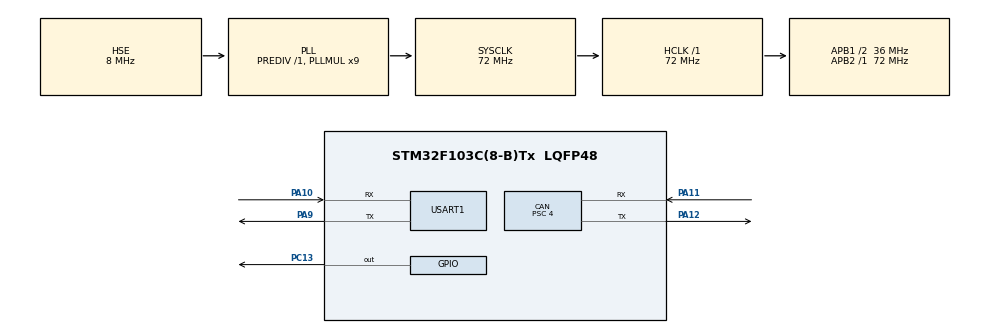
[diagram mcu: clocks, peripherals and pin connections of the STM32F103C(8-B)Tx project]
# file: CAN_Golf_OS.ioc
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CAN.BS1=CAN_BS1_15TQ
CAN.BS2=CAN_BS2_2TQ
CAN.CalculateBaudRate=500000
CAN.CalculateTimeBit=2000
CAN.CalculateTimeQuantum=111.11111111111111
CAN.Prescaler=4
FREERTOS.Tasks01=mMainTask,24,128,MainTask,Default,NULL,Dynamic,NULL,NULL;mCAN_Recv,48,128,CAN_Recv,Default,NULL,Dynamic,NULL,NULL;mCAN_Monitor,24,128,CAN_Monitor,Default,NULL,Dynamic,NULL,NULL
Mcu.Family=STM32F1
Mcu.Name=STM32F103C(8-B)Tx
Mcu.Package=LQFP48
NVIC.CAN1_RX1_IRQn=true\:5\:0\:false\:false\:true\:true\:true\:true\:true
NVIC.CAN1_SCE_IRQn=true\:5\:0\:false\:false\:true\:true\:true\:true\:true
NVIC.PriorityGroup=NVIC_PRIORITYGROUP_4
NVIC.TIM4_IRQn=true\:15\:0\:false\:false\:true\:false\:false\:true\:true
NVIC.TimeBase=TIM4_IRQn
NVIC.TimeBaseIP=TIM4
NVIC.USB_HP_CAN1_TX_IRQn=true\:5\:0\:false\:false\:true\:true\:true\:true\:true
NVIC.USB_LP_CAN1_RX0_IRQn=true\:5\:0\:false\:false\:true\:true\:true\:true\:true
PA10.Mode=Asynchronous
PA10.Signal=USART1_RX
PA11.Mode=CAN_Activate
PA11.Signal=CAN_RX
PA12.Mode=CAN_Activate
PA12.Signal=CAN_TX
PA13.Mode=Serial_Wire
PA13.Signal=SYS_JTMS-SWDIO
PA14.Mode=Serial_Wire
PA14.Signal=SYS_JTCK-SWCLK
PA9.Mode=Asynchronous
PA9.Signal=USART1_TX
PC13-TAMPER-RTC.Signal=GPIO_Output
PD0-OSC_IN.Mode=HSE-External-Oscillator
PD0-OSC_IN.Signal=RCC_OSC_IN
PD1-OSC_OUT.Mode=HSE-External-Oscillator
PD1-OSC_OUT.Signal=RCC_OSC_OUT
ProjectManager.HeapSize=0x200
ProjectManager.StackSize=0x400
ProjectManager.TargetToolchain=STM32CubeIDE
RCC.AHBFreq_Value=72000000
RCC.APB1CLKDivider=RCC_HCLK_DIV2
RCC.APB1Freq_Value=36000000
RCC.APB1TimFreq_Value=72000000
RCC.APB2Freq_Value=72000000
RCC.APB2TimFreq_Value=72000000
RCC.HCLKFreq_Value=72000000
RCC.PLLMUL=RCC_PLL_MUL9
RCC.PLLSourceVirtual=RCC_PLLSOURCE_HSE
RCC.SYSCLKFreq_VALUE=72000000
RCC.SYSCLKSource=RCC_SYSCLKSOURCE_PLLCLK
RCC.USBFreq_Value=72000000
TIM3.Period=209
TIM3.Prescaler=71
USART1.VirtualMode=VM_ASYNC
VP_FREERTOS_VS_CMSIS_V2.Mode=CMSIS_V2
VP_SYS_VS_tim4.Mode=TIM4
VP_TIM3_VS_ClockSourceINT.Mode=Internal
board=custom

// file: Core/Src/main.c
/* USER CODE BEGIN Header */
/**
  ******************************************************************************
  * @file           : main.c
  * @brief          : Main program body
  ******************************************************************************
  * @attention
  *
  * Copyright (c) 2023 STMicroelectronics.
  * All rights reserved.
  *
  * This software is licensed under terms that can be found in the LICENSE file
  * in the root directory of this software component.
  * If no LICENSE file comes with this software, it is provided AS-IS.
  *
  ******************************************************************************
  */
/* USER CODE END Header */
#include "main.h"
#include "cmsis_os.h"

/* USER CODE BEGIN Includes */
#include "CAN_Flag.h"
#include "CAN_OSI.h"
#include "stdio.h"
/* USER CODE END Includes */

CAN_HandleTypeDef hcan;

TIM_HandleTypeDef htim3;

UART_HandleTypeDef huart1;

/* Definitions for mMainTask */
osThreadId_t mMainTaskHandle;
const osThreadAttr_t mMainTask_attributes = {
  .name = "mMainTask",
  .stack_size = 128 * 4,
  .priority = (osPriority_t) osPriorityNormal,
};
/* Definitions for mCAN_Recv */
osThreadId_t mCAN_RecvHandle;
const osThreadAttr_t mCAN_Recv_attributes = {
  .name = "mCAN_Recv",
  .stack_size = 128 * 4,
  .priority = (osPriority_t) osPriorityRealtime,
};
/* Definitions for mCAN_Monitor */
osThreadId_t mCAN_MonitorHandle;
const osThreadAttr_t mCAN_Monitor_attributes = {
  .name = "mCAN_Monitor",
  .stack_size = 128 * 4,
  .priority = (osPriority_t) osPriorityNormal,
};

void SystemClock_Config(void);
static void MX_GPIO_Init(void);
static void MX_CAN_Init(void);
static void MX_USART1_UART_Init(void);
static void MX_TIM3_Init(void);
void MainTask(void *argument);
void CAN_Recv(void *argument);
void CAN_Monitor(void *argument);

int main(void)
{

  /* MCU Configuration--------------------------------------------------------*/

  /* Reset of all peripherals, Initializes the Flash interface and the Systick. */
  HAL_Init();

  /* Configure the system clock */
  SystemClock_Config();

  /* Initialize all configured peripherals */
  MX_GPIO_Init();
  MX_CAN_Init();
  MX_USART1_UART_Init();
  MX_TIM3_Init();

  /* Init scheduler */
  osKernelInitialize();

  /* Create the thread(s) */
  /* creation of mMainTask */
  mMainTaskHandle = osThreadNew(MainTask, NULL, &mMainTask_attributes);

  /* creation of mCAN_Recv */
  mCAN_RecvHandle = osThreadNew(CAN_Recv, NULL, &mCAN_Recv_attributes);

  /* creation of mCAN_Monitor */
  mCAN_MonitorHandle = osThreadNew(CAN_Monitor, NULL, &mCAN_Monitor_attributes);

  /* Start scheduler */
  osKernelStart();

  /* We should never get here as control is now taken by the scheduler */
  /* Infinite loop */
  while (1)
  {

  }
}

void SystemClock_Config(void)
{
  RCC_OscInitTypeDef RCC_OscInitStruct = {0};
  RCC_ClkInitTypeDef RCC_ClkInitStruct = {0};

  /** Initializes the RCC Oscillators according to the specified parameters
  * in the RCC_OscInitTypeDef structure.
  */
  RCC_OscInitStruct.OscillatorType = RCC_OSCILLATORTYPE_HSE;
  RCC_OscInitStruct.HSEState = RCC_HSE_ON;
  RCC_OscInitStruct.HSEPredivValue = RCC_HSE_PREDIV_DIV1;
  RCC_OscInitStruct.HSIState = RCC_HSI_ON;
  RCC_OscInitStruct.PLL.PLLState = RCC_PLL_ON;
  RCC_OscInitStruct.PLL.PLLSource = RCC_PLLSOURCE_HSE;
  RCC_OscInitStruct.PLL.PLLMUL = RCC_PLL_MUL9;
  if (HAL_RCC_OscConfig(&RCC_OscInitStruct) != HAL_OK)
  {
    Error_Handler();
  }

  /** Initializes the CPU, AHB and APB buses clocks
  */
  RCC_ClkInitStruct.ClockType = RCC_CLOCKTYPE_HCLK|RCC_CLOCKTYPE_SYSCLK
                              |RCC_CLOCKTYPE_PCLK1|RCC_CLOCKTYPE_PCLK2;
  RCC_ClkInitStruct.SYSCLKSource = RCC_SYSCLKSOURCE_PLLCLK;
  RCC_ClkInitStruct.AHBCLKDivider = RCC_SYSCLK_DIV1;
  RCC_ClkInitStruct.APB1CLKDivider = RCC_HCLK_DIV2;
  RCC_ClkInitStruct.APB2CLKDivider = RCC_HCLK_DIV1;

  if (HAL_RCC_ClockConfig(&RCC_ClkInitStruct, FLASH_LATENCY_2) != HAL_OK)
  {
    Error_Handler();
  }
}

static void MX_CAN_Init(void)
{

  hcan.Instance = CAN1;
  hcan.Init.Prescaler = 4;
  hcan.Init.Mode = CAN_MODE_NORMAL;
  hcan.Init.SyncJumpWidth = CAN_SJW_1TQ;
  hcan.Init.TimeSeg1 = CAN_BS1_15TQ;
  hcan.Init.TimeSeg2 = CAN_BS2_2TQ;
  hcan.Init.TimeTriggeredMode = DISABLE;
  hcan.Init.AutoBusOff = DISABLE;
  hcan.Init.AutoWakeUp = DISABLE;
  hcan.Init.AutoRetransmission = DISABLE;
  hcan.Init.ReceiveFifoLocked = DISABLE;
  hcan.Init.TransmitFifoPriority = DISABLE;
  if (HAL_CAN_Init(&hcan) != HAL_OK)
  {
    Error_Handler();
  }

}

static void MX_TIM3_Init(void)
{

  TIM_ClockConfigTypeDef sClockSourceConfig = {0};
  TIM_MasterConfigTypeDef sMasterConfig = {0};

  htim3.Instance = TIM3;
  htim3.Init.Prescaler = 71;
  htim3.Init.CounterMode = TIM_COUNTERMODE_UP;
  htim3.Init.Period = 209;
  htim3.Init.ClockDivision = TIM_CLOCKDIVISION_DIV1;
  htim3.Init.AutoReloadPreload = TIM_AUTORELOAD_PRELOAD_DISABLE;
  if (HAL_TIM_Base_Init(&htim3) != HAL_OK)
  {
    Error_Handler();
  }
  sClockSourceConfig.ClockSource = TIM_CLOCKSOURCE_INTERNAL;
  if (HAL_TIM_ConfigClockSource(&htim3, &sClockSourceConfig) != HAL_OK)
  {
    Error_Handler();
  }
  sMasterConfig.MasterOutputTrigger = TIM_TRGO_RESET;
  sMasterConfig.MasterSlaveMode = TIM_MASTERSLAVEMODE_DISABLE;
  if (HAL_TIMEx_MasterConfigSynchronization(&htim3, &sMasterConfig) != HAL_OK)
  {
    Error_Handler();
  }

}

static void MX_USART1_UART_Init(void)
{

  huart1.Instance = USART1;
  huart1.Init.BaudRate = 115200;
  huart1.Init.WordLength = UART_WORDLENGTH_8B;
  huart1.Init.StopBits = UART_STOPBITS_1;
  huart1.Init.Parity = UART_PARITY_NONE;
  huart1.Init.Mode = UART_MODE_TX_RX;
  huart1.Init.HwFlowCtl = UART_HWCONTROL_NONE;
  huart1.Init.OverSampling = UART_OVERSAMPLING_16;
  if (HAL_UART_Init(&huart1) != HAL_OK)
  {
    Error_Handler();
  }

}

static void MX_GPIO_Init(void)
{
  GPIO_InitTypeDef GPIO_InitStruct = {0};

  /* GPIO Ports Clock Enable */
  __HAL_RCC_GPIOC_CLK_ENABLE();
  __HAL_RCC_GPIOD_CLK_ENABLE();
  __HAL_RCC_GPIOA_CLK_ENABLE();

  /*Configure GPIO pin Output Level */
  HAL_GPIO_WritePin(GPIOC, GPIO_PIN_13, GPIO_PIN_RESET);

  /*Configure GPIO pin : PC13 */
  GPIO_InitStruct.Pin = GPIO_PIN_13;
  GPIO_InitStruct.Mode = GPIO_MODE_OUTPUT_PP;
  GPIO_InitStruct.Pull = GPIO_NOPULL;
  GPIO_InitStruct.Speed = GPIO_SPEED_FREQ_LOW;
  HAL_GPIO_Init(GPIOC, &GPIO_InitStruct);

}

void MainTask(void *argument)
{
  /* USER CODE BEGIN 5 */
  CAN_Config_filtering(CAN_FILTER_FIFO0);
    if(HAL_CAN_Start(&hcan)!=HAL_OK)
        {
         Error_Handler();
        }
     uint32_t Txmailbox;
     CANConfigIDTxtypedef pIDtype;
     pIDtype.MessageType=COMMAND_FRAME;
     pIDtype.SenderID=OBSTALCE2;
     CANBufferHandleStruct Buffer;
     CANBufferHandleStruct_Init(&Buffer);
     FlagRecNotification FlagRec;
     FlagFrameHandle Flag;
     FlagsFrameHandle_Init(&Flag);
     uint8_t mess[100]={0};
     uint8_t k=0;
     uint8_t Data[64]={0};
     for (int i=0; i<DATA_TEST;i++)
       {
         Data[i]=k;
         k=k+1;
       }
     uint8_t sendData[100] = {0};
         uint8_t len = 0;
         uint32_t cnt = 0;
       char Print[88] = {0};
  /* Infinite loop */
  for(;;)
  {
      len = sprintf((char*)sendData, "From OBSTALCE5 to 2: %lu\r\n",cnt++);
      CAN_Send_Application(&Buffer, &pIDtype, sendData,len+1);

    osDelay(1000);
  }
  /* USER CODE END 5 */
}

void CAN_Recv(void *argument)
{
  /* USER CODE BEGIN CAN_Recv */
//  CAN_Config_filtering(CAN_FILTER_FIFO0);
//  if(HAL_CAN_Start(&hcan)!=HAL_OK)
//      {
//       Error_Handler();
//      }
//   uint32_t Txmailbox;
//   CANConfigIDTxtypedef pIDtype;
//   pIDtype.MessageType=COMMAND_FRAME;
//   pIDtype.SenderID=OBSTALCE5;
//   CANBufferHandleStruct Buffer;
//   CANBufferHandleStruct_Init(&Buffer);
//   FlagRecNotification FlagRec;
//   FlagFrameHandle Flag;
//   FlagsFrameHandle_Init(&Flag);
//   uint8_t mess[100]={0};
//   uint8_t k=0;
//   uint8_t Data[64]={0};
//   for (int i=0; i<DATA_TEST;i++)
//     {
//       Data[i]=k;
//       k=k+1;
//     }
//   uint8_t sendData[100] = {0};
//       uint8_t len = 0;
//       uint32_t cnt = 0;
//     char Print[88] = {0};
  /* Infinite loop */
  for(;;)
  {
//    CAN_Receive_Application(&Buffer, mess, &Flag, &FlagRec);
//      if(FlagRec==REC_SUCCESS)
//      {
//        uint8_t len = sprintf(Print, "Node 2 Rcv: %s\r\n", mess);
//        HAL_UART_Transmit(&huart1,Print,len,HAL_MAX_DELAY);
//      }
   osDelay(100);
  }
  /* USER CODE END CAN_Recv */
}

void CAN_Monitor(void *argument)
{
  /* USER CODE BEGIN CAN_Monitor */
  /* Infinite loop */
  for(;;)
  {
    HAL_GPIO_TogglePin(GPIOC, GPIO_PIN_13);
    osDelay(500);
  }
  /* USER CODE END CAN_Monitor */
}

void HAL_TIM_PeriodElapsedCallback(TIM_HandleTypeDef *htim)
{
  if (htim->Instance == TIM4) {
    HAL_IncTick();
  }
}

void Error_Handler(void)
{
  __disable_irq();
  while (1)
  {
  }
}
